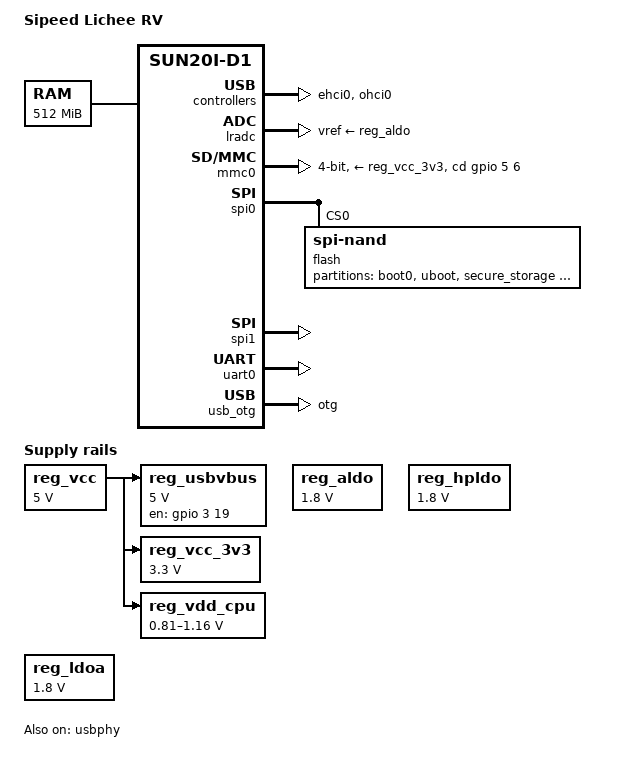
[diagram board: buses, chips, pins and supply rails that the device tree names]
// SPDX-License-Identifier: (GPL-2.0+ or MIT)
// Copyright (C) 2021 Samuel Holland <samuel@sholland.org>

/dts-v1/;

#include "sun20i-d1.dtsi"

#include <dt-bindings/gpio/gpio.h>
#include <dt-bindings/input/input.h>
#include <dt-bindings/leds/common.h>
#include <dt-bindings/pwm/pwm.h>

/ {
	model = "Sipeed Lichee RV";
	compatible = "sipeed,lichee-rv", "allwinner,sun20i-d1";

	aliases {
		mmc0 = &mmc0;
		serial0 = &uart0;
		spi0 = &spi0;
	};

	memory@40000000 {
		device_type = "memory";
		reg = <0x40000000 0x20000000>;
	};

	chosen {
		stdout-path = "serial0:115200n8";
	};

	reg_usbvbus: usbvbus {
		compatible = "regulator-fixed";
		regulator-name = "usbvbus";
		regulator-min-microvolt = <5000000>;
		regulator-max-microvolt = <5000000>;
		gpio = <&gpio 3 19 GPIO_ACTIVE_HIGH>; /* PD19 */
		enable-active-high;
		vin-supply = <&reg_vcc>;
	};

	reg_vcc: vcc {
		compatible = "regulator-fixed";
		regulator-name = "vcc";
		regulator-min-microvolt = <5000000>;
		regulator-max-microvolt = <5000000>;
	};

	reg_vcc_3v3: vcc-3v3 {
		compatible = "regulator-fixed";
		regulator-name = "vcc-3v3";
		regulator-min-microvolt = <3300000>;
		regulator-max-microvolt = <3300000>;
		vin-supply = <&reg_vcc>;
	};

	reg_vdd_cpu: vdd-cpu {
		compatible = "pwm-regulator";
		pwms = <&pwm 0 50000 0>;
		pwm-supply = <&reg_vcc>;
		regulator-name = "vdd-cpu";
		regulator-min-microvolt = <810000>;
		regulator-max-microvolt = <1160000>;
	};
};

&cpu0 {
	cpu-supply = <&reg_vdd_cpu>;
};

&ehci0 {
	status = "okay";
};

&gpio {
	vcc-pa-supply = <&reg_vcc_3v3>;
	vcc-pb-supply = <&reg_vcc_3v3>;
	vcc-pc-supply = <&reg_vcc_3v3>;
	vcc-pd-supply = <&reg_vcc_3v3>;
	vcc-pe-supply = <&reg_vcc_3v3>;
	vcc-pf-supply = <&reg_vcc_3v3>;
	vcc-pg-supply = <&reg_vcc_3v3>;
};

&lradc {
	vref-supply = <&reg_aldo>;
	wakeup-source;
	status = "okay";

	button-160 {
		label = "OK";
		linux,code = <KEY_OK>;
		channel = <0>;
		voltage = <160000>;
	};
};

&mmc0 {
	bus-width = <4>;
	cd-gpios = <&gpio 5 6 GPIO_ACTIVE_HIGH>; /* PF6 */
	disable-wp;
	vmmc-supply = <&reg_vcc_3v3>;
	vqmmc-supply = <&reg_vcc_3v3>;
	pinctrl-0 = <&mmc0_pins>;
	pinctrl-names = "default";
	status = "okay";
};

&ohci0 {
	status = "okay";
};

&reg_aldo {
	regulator-min-microvolt = <1800000>;
	regulator-max-microvolt = <1800000>;
	vdd33-supply = <&reg_vcc_3v3>;
};

&reg_hpldo {
	regulator-min-microvolt = <1800000>;
	regulator-max-microvolt = <1800000>;
	hpldoin-supply = <&reg_vcc_3v3>;
};

&reg_ldoa {
	regulator-always-on;
	regulator-min-microvolt = <1800000>;
	regulator-max-microvolt = <1800000>;
	ldo-in-supply = <&reg_vcc_3v3>;
};

&spi0 {
	pinctrl-0 = <&spi0_pins>;
	pinctrl-names = "default";
	status = "okay";

	flash@0 {
		compatible = "spi-nand";
		reg = <0>;

		partitions {
			compatible = "fixed-partitions";
			#address-cells = <1>;
			#size-cells = <1>;

			partition@0 {
				label = "boot0";
				reg = <0x00000000 0x00100000>;
			};

			partition@100000 {
				label = "uboot";
				reg = <0x00100000 0x00300000>;
			};

			partition@400000 {
				label = "secure_storage";
				reg = <0x00400000 0x00100000>;
			};

			partition@500000 {
				label = "sys";
				reg = <0x00500000 0x0fb00000>;
			};
		};
	};
};

&spi1 {
	pinctrl-0 = <&spi1_pd_pins>;
	pinctrl-names = "default";
	status = "okay";
};

&ths {
	vref-supply = <&reg_aldo>;
};

&uart0 {
	pinctrl-0 = <&uart0_pb8_pins>;
	pinctrl-names = "default";
	status = "okay";
};

&usb_otg {
	dr_mode = "otg";
	status = "okay";
};

&usbphy {
	usb0_id_det-gpios = <&gpio 3 21 GPIO_ACTIVE_LOW>; /* PD21 */
	usb0_vbus_det-gpios = <&gpio 3 20 GPIO_ACTIVE_HIGH>; /* PD20 */
	usb0_vbus-supply = <&reg_usbvbus>;
	usb1_vbus-supply = <&reg_vcc>;
	status = "okay";
};
